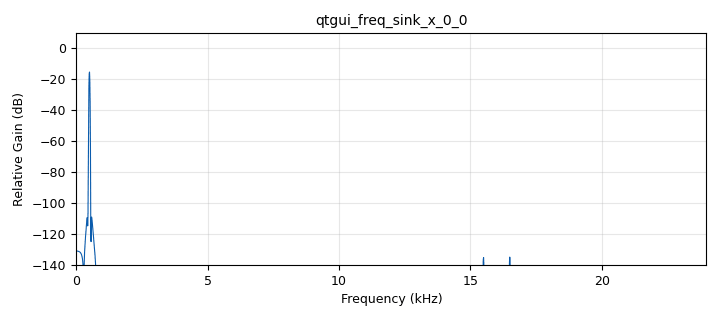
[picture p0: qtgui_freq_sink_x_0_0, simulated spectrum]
<?xml version='1.0' encoding='utf-8'?>
<?grc format='1' created='3.7.10'?>
<flow_graph>
<block>
<key>options</key>
<param><key>id</key><value>top_block</value></param>
<param><key>generate_options</key><value>qt_gui</value></param>
</block>
<block>
<key>variable</key>
<param><key>id</key><value>samp_rate</value></param>
<param><key>value</key><value>48000</value></param>
</block>
<block>
<key>variable_qtgui_range</key>
<param><key>id</key><value>sig_freq</value></param>
<param><key>value</key><value>500</value></param>
<param><key>orient</key><value>Qt.Horizontal</value></param>
<param><key>start</key><value>5</value></param>
<param><key>step</key><value>1</value></param>
<param><key>stop</key><value>5000</value></param>
</block>
<block>
<key>variable_repetition_encoder_def</key>
<param><key>id</key><value>variable_repetition_encoder_def_0</value></param>
<param><key>framebits</key><value>2048</value></param>
<param><key>ndim</key><value>0</value></param>
<param><key>rep</key><value>3</value></param>
</block>
<block>
<key>analog_sig_source_x</key>
<param><key>id</key><value>analog_sig_source_x_0</value></param>
<param><key>amp</key><value>1</value></param>
<param><key>freq</key><value>sig_freq</value></param>
<param><key>offset</key><value>0</value></param>
<param><key>type</key><value>float</value></param>
<param><key>samp_rate</key><value>samp_rate</value></param>
<param><key>waveform</key><value>analog.GR_COS_WAVE</value></param>
</block>
<block>
<key>audio_sink</key>
<param><key>id</key><value>audio_sink_0</value></param>
<param><key>_enabled</key><value>0</value></param>
<param><key>samp_rate</key><value>samp_rate</value></param>
</block>
<block>
<key>audio_sink</key>
<param><key>id</key><value>audio_sink_0_0</value></param>
<param><key>samp_rate</key><value>samp_rate</value></param>
</block>
<block>
<key>blocks_wavfile_source</key>
<param><key>id</key><value>blocks_wavfile_source_0</value></param>
<param><key>_enabled</key><value>0</value></param>
<param><key>file</key><value>/home/jeff/EE420/FinalProj/TestFiles/Safe Mode HDSDR_20141223_230915Z_145980kHz_AF.wav</value></param>
<param><key>repeat</key><value>True</value></param>
</block>
<block>
<key>channels_channel_model</key>
<param><key>id</key><value>channels_channel_model_0</value></param>
<param><key>epsilon</key><value>1.0</value></param>
<param><key>freq_offset</key><value>0.0</value></param>
<param><key>noise_voltage</key><value>0.0</value></param>
<param><key>seed</key><value>0</value></param>
<param><key>taps</key><value>1.0 + 1.0j</value></param>
</block>
<block>
<key>fec_extended_encoder</key>
<param><key>id</key><value>fec_extended_encoder_0</value></param>
<param><key>encoder_list</key><value>variable_repetition_encoder_def_0ff</value></param>
<param><key>puncpat</key><value>'11'</value></param>
<param><key>threadtype</key><value>capillary</value></param>
</block>
<block>
<key>fec_generic_encoder</key>
<param><key>id</key><value>fec_generic_encoder_0</value></param>
<param><key>encoder</key><value>encoder_variable</value></param>
</block>
<block>
<key>low_pass_filter</key>
<param><key>id</key><value>low_pass_filter_0</value></param>
<param><key>cutoff_freq</key><value>300</value></param>
<param><key>decim</key><value>1</value></param>
<param><key>_enabled</key><value>0</value></param>
<param><key>type</key><value>fir_filter_fff</value></param>
<param><key>gain</key><value>1</value></param>
<param><key>samp_rate</key><value>samp_rate</value></param>
<param><key>width</key><value>100</value></param>
<param><key>win</key><value>firdes.WIN_HAMMING</value></param>
</block>
<block>
<key>qtgui_freq_sink_x</key>
<param><key>id</key><value>qtgui_freq_sink_x_0</value></param>
<param><key>bw</key><value>samp_rate</value></param>
<param><key>fc</key><value>0</value></param>
<param><key>ctrlpanel</key><value>True</value></param>
<param><key>_enabled</key><value>0</value></param>
<param><key>fftsize</key><value>4096</value></param>
<param><key>showports</key><value>True</value></param>
<param><key>freqhalf</key><value>False</value></param>
<param><key>type</key><value>float</value></param>
<param><key>wintype</key><value>firdes.WIN_BLACKMAN_hARRIS</value></param>
</block>
<block>
<key>qtgui_freq_sink_x</key>
<param><key>id</key><value>qtgui_freq_sink_x_0_0</value></param>
<param><key>bw</key><value>samp_rate</value></param>
<param><key>fc</key><value>0</value></param>
<param><key>ctrlpanel</key><value>True</value></param>
<param><key>fftsize</key><value>4096</value></param>
<param><key>showports</key><value>True</value></param>
<param><key>freqhalf</key><value>False</value></param>
<param><key>type</key><value>float</value></param>
<param><key>wintype</key><value>firdes.WIN_BLACKMAN_hARRIS</value></param>
</block>
<connection><source_block_id>analog_sig_source_x_0</source_block_id><sink_block_id>audio_sink_0_0</sink_block_id><source_key>0</source_key><sink_key>0</sink_key></connection>
<connection><source_block_id>analog_sig_source_x_0</source_block_id><sink_block_id>qtgui_freq_sink_x_0_0</sink_block_id><source_key>0</source_key><sink_key>0</sink_key></connection>
<connection><source_block_id>blocks_wavfile_source_0</source_block_id><sink_block_id>audio_sink_0</sink_block_id><source_key>0</source_key><sink_key>0</sink_key></connection>
<connection><source_block_id>blocks_wavfile_source_0</source_block_id><sink_block_id>low_pass_filter_0</sink_block_id><source_key>0</source_key><sink_key>0</sink_key></connection>
<connection><source_block_id>low_pass_filter_0</source_block_id><sink_block_id>qtgui_freq_sink_x_0</sink_block_id><source_key>0</source_key><sink_key>0</sink_key></connection>
</flow_graph>
